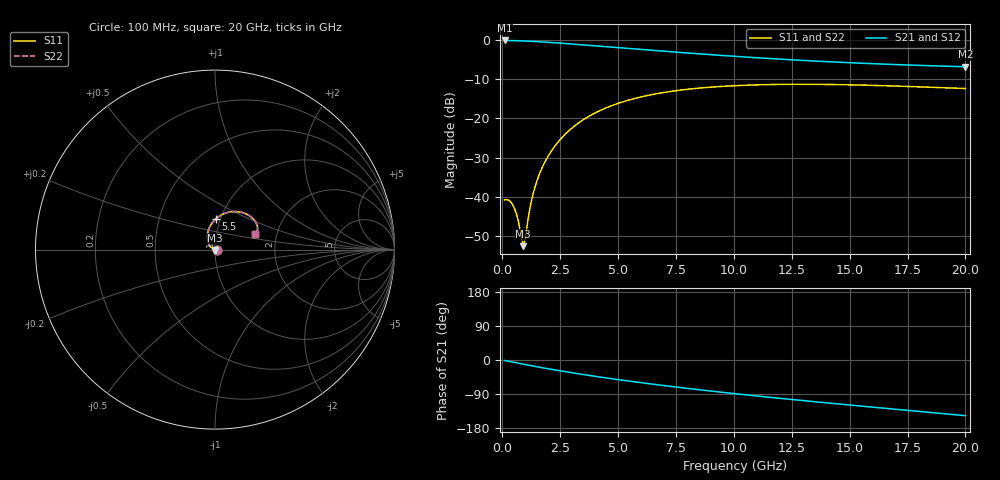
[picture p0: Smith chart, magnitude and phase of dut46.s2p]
! Touchstone file exported from HFSS 2024.1.0
!  File:  C:/UserFiles/LocalFiles/RDL_TSV_Batchsim/temp_RDL_TSV_46_1779405853.aedt
!  Generated:  07:41:47 AM May 22, 2026
!  Design:  RDL_TSV
!  Project:  temp_RDL_TSV_46_1779405853
!  Setup:  Setup1
!  Solution:  Sweep
! Variables:
!  dtsv = 5.66um
!  hbump = 3um
!  htsv = 98.37um
!  ldown = 447.44um
!  lrdl = 111.33um
!  p = 40
!  p1 = 44.85um
!  rhole = 10um
!  subl = 1787.64um
!  t = 450um
!  tdown = 3.84um
!  trdl = 3.95um
!  viad = 10um
!  wdown = 25.02um
!  wrdl = 25.18um
!  xbump = 18um
# GHz S MA R 50.000000
! Terminal data exported
! Port[1] = TM1_1_T1
! Port[2] = TM1_4_T1
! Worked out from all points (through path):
!   200 points, 100 MHz to 20 GHz, reference 50 ohm
!   highest |S21| = -0.08 dB at 100 MHz (marker M1); lowest = -6.8 dB at 20 GHz (marker M2)
!   group delay of S21, straight-line fit = 19.4 ps
!   lowest |S11| = -52.6 dB at 900 MHz (marker M3), VSWR 1.00, Z = 50 - j0.235 ohm
!   |S11| at or under -10 dB: start of sweep to end of sweep
!   |S22| runs from -52.6 to -11.3 dB; largest |S21 - S12| = 1.1e-14
!   S11 on the Smith chart (normalised r, x): 100 MHz: 1.02, -0.00; 5.5 GHz: 0.95, +0.34; 20 GHz: 1.55, +0.29
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0.1  0.009177 -0.4  0.9905 -1.3  0.9905 -1.3  0.009177 -0.4
! Gamma 0 0 0 0
! Port Impedance 50 0 50 0
0.3  0.008966 -6.8  0.9884 -3.7  0.9884 -3.7  0.008966 -6.8
0.5  0.007404 -17.2  0.9854 -6.2  0.9854 -6.2  0.007404 -17.2
0.7  0.004803 -34.3  0.9816 -8.6  0.9816 -8.6  0.004805 -34.3
0.9  0.002349 -92.0  0.9769 -11.0  0.9769 -11.0  0.00235 -91.9
1  0.002974 -142.9  0.9742 -12.2  0.9742 -12.2  0.002973 -142.9
1.1  0.004901 -168.6  0.9712 -13.3  0.9712 -13.3  0.004899 -168.6
1.2  0.007344 179.0  0.9681 -14.5  0.9681 -14.5  0.007341 179.0
1.3  0.01007 171.4  0.9648 -15.6  0.9648 -15.6  0.01007 171.4
1.5  0.01614 161.5  0.9577 -17.9  0.9577 -17.9  0.01613 161.5
1.8  0.02641 151.3  0.9459 -21.3  0.9459 -21.3  0.0264 151.4
2.1  0.03774 143.4  0.9332 -24.5  0.9332 -24.5  0.03773 143.4
2.5  0.05397 134.3  0.9154 -28.7  0.9154 -28.7  0.05396 134.3
3  0.0752 124.4  0.8923 -33.7  0.8923 -33.7  0.07519 124.4
3.5  0.0966 115.6  0.8691 -38.4  0.8691 -38.4  0.09659 115.6
4.4  0.1335 101.8  0.8282 -46.6  0.8282 -46.6  0.1335 101.9
5.5  0.1732 87.8  0.7806 -55.9  0.7806 -55.9  0.1732 87.9
6.8  0.2105 74.3  0.7286 -66.2  0.7286 -66.2  0.2105 74.3
10.1  0.2628 49.5  0.6193 -89.3  0.6193 -89.3  0.2628 49.6
13.4  0.2731 34.0  0.5424 -109.6  0.5424 -109.6  0.2731 34.0
16.7  0.2611 24.9  0.4911 -128.5  0.4911 -128.5  0.2611 24.9
20  0.2413 21.5  0.4574 -146.9  0.4574 -146.9  0.2413 21.6
